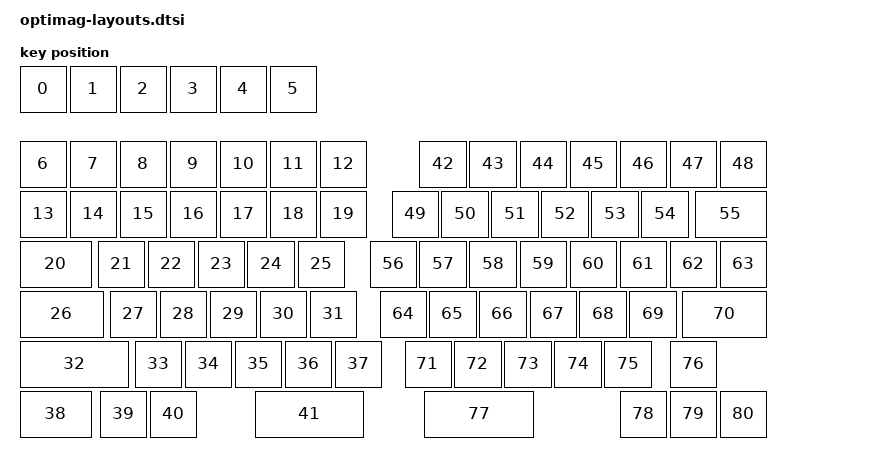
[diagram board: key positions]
#include <physical_layouts.dtsi>

/ {
    physical_layout0: physical_layout_0 {
        compatible = "zmk,physical-layout";
        display-name = "Default Layout";
    };
};

#include <physical_layouts.dtsi>

/ {
    physical_layout0: physical_layout_0 {
        compatible = "zmk,physical-layout";
        display-name = "Optimag";

        kscan = <&kscan0>;
        transform = <&matrix_transform0>;

        keys  //                     w   h    x    y     rot    rx    ry
            = <&key_physical_attrs 100 100    0    0       0     0     0>
            , <&key_physical_attrs 100 100  100    0       0     0     0>
            , <&key_physical_attrs 100 100  200    0       0     0     0>
            , <&key_physical_attrs 100 100  300    0       0     0     0>
            , <&key_physical_attrs 100 100  400    0       0     0     0>
            , <&key_physical_attrs 100 100  500    0       0     0     0>
            , <&key_physical_attrs 100 100    0  150       0     0     0>
            , <&key_physical_attrs 100 100  100  150       0     0     0>
            , <&key_physical_attrs 100 100  200  150       0     0     0>
            , <&key_physical_attrs 100 100  300  150       0     0     0>
            , <&key_physical_attrs 100 100  400  150       0     0     0>
            , <&key_physical_attrs 100 100  500  150       0     0     0>
            , <&key_physical_attrs 100 100  600  150       0     0     0>
            , <&key_physical_attrs 100 100    0  250       0     0     0>
            , <&key_physical_attrs 100 100  100  250       0     0     0>
            , <&key_physical_attrs 100 100  200  250       0     0     0>
            , <&key_physical_attrs 100 100  300  250       0     0     0>
            , <&key_physical_attrs 100 100  400  250       0     0     0>
            , <&key_physical_attrs 100 100  500  250       0     0     0>
            , <&key_physical_attrs 100 100  600  250       0     0     0>
            , <&key_physical_attrs 150 100    0  350       0     0     0>
            , <&key_physical_attrs 100 100  156  350       0     0     0>
            , <&key_physical_attrs 100 100  256  350       0     0     0>
            , <&key_physical_attrs 100 100  356  350       0     0     0>
            , <&key_physical_attrs 100 100  456  350       0     0     0>
            , <&key_physical_attrs 100 100  556  350       0     0     0>
            , <&key_physical_attrs 175 100    0  450       0     0     0>
            , <&key_physical_attrs 100 100  180  450       0     0     0>
            , <&key_physical_attrs 100 100  280  450       0     0     0>
            , <&key_physical_attrs 100 100  380  450       0     0     0>
            , <&key_physical_attrs 100 100  480  450       0     0     0>
            , <&key_physical_attrs 100 100  580  450       0     0     0>
            , <&key_physical_attrs 225 100    0  550       0     0     0>
            , <&key_physical_attrs 100 100  230  550       0     0     0>
            , <&key_physical_attrs 100 100  330  550       0     0     0>
            , <&key_physical_attrs 100 100  430  550       0     0     0>
            , <&key_physical_attrs 100 100  530  550       0     0     0>
            , <&key_physical_attrs 100 100  630  550       0     0     0>
            , <&key_physical_attrs 150 100    0  650       0     0     0>
            , <&key_physical_attrs 100 100  160  650       0     0     0>
            , <&key_physical_attrs 100 100  260  650       0     0     0>
            , <&key_physical_attrs 225 100  470  650       0     0     0>
            , <&key_physical_attrs 100 100  800  150       0     0     0>
            , <&key_physical_attrs 100 100  900  150       0     0     0>
            , <&key_physical_attrs 100 100 1000  150       0     0     0>
            , <&key_physical_attrs 100 100 1100  150       0     0     0>
            , <&key_physical_attrs 100 100 1200  150       0     0     0>
            , <&key_physical_attrs 100 100 1300  150       0     0     0>
            , <&key_physical_attrs 100 100 1400  150       0     0     0>
            , <&key_physical_attrs 100 100  744  250       0     0     0>
            , <&key_physical_attrs 100 100  844  250       0     0     0>
            , <&key_physical_attrs 100 100  944  250       0     0     0>
            , <&key_physical_attrs 100 100 1044  250       0     0     0>
            , <&key_physical_attrs 100 100 1144  250       0     0     0>
            , <&key_physical_attrs 100 100 1244  250       0     0     0>
            , <&key_physical_attrs 150 100 1350  250       0     0     0>
            , <&key_physical_attrs 100 100  700  350       0     0     0>
            , <&key_physical_attrs 100 100  800  350       0     0     0>
            , <&key_physical_attrs 100 100  900  350       0     0     0>
            , <&key_physical_attrs 100 100 1000  350       0     0     0>
            , <&key_physical_attrs 100 100 1100  350       0     0     0>
            , <&key_physical_attrs 100 100 1200  350       0     0     0>
            , <&key_physical_attrs 100 100 1300  350       0     0     0>
            , <&key_physical_attrs 100 100 1400  350       0     0     0>
            , <&key_physical_attrs 100 100  720  450       0     0     0>
            , <&key_physical_attrs 100 100  820  450       0     0     0>
            , <&key_physical_attrs 100 100  920  450       0     0     0>
            , <&key_physical_attrs 100 100 1020  450       0     0     0>
            , <&key_physical_attrs 100 100 1120  450       0     0     0>
            , <&key_physical_attrs 100 100 1220  450       0     0     0>
            , <&key_physical_attrs 175 100 1325  450       0     0     0>
            , <&key_physical_attrs 100 100  770  550       0     0     0>
            , <&key_physical_attrs 100 100  870  550       0     0     0>
            , <&key_physical_attrs 100 100  970  550       0     0     0>
            , <&key_physical_attrs 100 100 1070  550       0     0     0>
            , <&key_physical_attrs 100 100 1170  550       0     0     0>
            , <&key_physical_attrs 100 100 1300  550       0     0     0>
            , <&key_physical_attrs 225 100  810  650       0     0     0>
            , <&key_physical_attrs 100 100 1200  650       0     0     0>
            , <&key_physical_attrs 100 100 1300  650       0     0     0>
            , <&key_physical_attrs 100 100 1400  650       0     0     0>
            ;
    };
};
